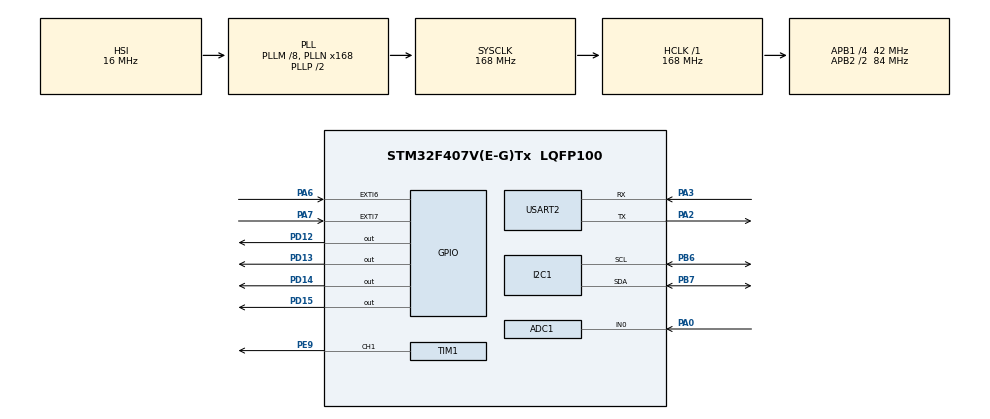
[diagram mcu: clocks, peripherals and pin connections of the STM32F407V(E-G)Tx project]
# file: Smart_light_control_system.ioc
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ADC1.Channel-0\#ChannelRegularConversion=ADC_CHANNEL_0
ADC1.NbrOfConversionFlag=1
ADC1.Rank-0\#ChannelRegularConversion=1
ADC1.SamplingTime-0\#ChannelRegularConversion=ADC_SAMPLETIME_3CYCLES
ADC1.master=1
Mcu.Family=STM32F4
Mcu.Name=STM32F407V(E-G)Tx
Mcu.Package=LQFP100
NVIC.EXTI9_5_IRQn=true\:0\:0\:false\:false\:true\:true\:true\:true
NVIC.PriorityGroup=NVIC_PRIORITYGROUP_0
PA0-WKUP.Signal=ADCx_IN0
PA2.Mode=Asynchronous
PA2.Signal=USART2_TX
PA3.Mode=Asynchronous
PA3.Signal=USART2_RX
PA6.Signal=GPXTI6
PA7.Signal=GPXTI7
PB6.Mode=I2C
PB6.Signal=I2C1_SCL
PB7.Mode=I2C
PB7.Signal=I2C1_SDA
PD12.Signal=GPIO_Output
PD13.Signal=GPIO_Output
PD14.Signal=GPIO_Output
PD15.Signal=GPIO_Output
PE9.Signal=S_TIM1_CH1
PH0-OSC_IN.Mode=HSE-External-Oscillator
PH0-OSC_IN.Signal=RCC_OSC_IN
PH1-OSC_OUT.Mode=HSE-External-Oscillator
PH1-OSC_OUT.Signal=RCC_OSC_OUT
ProjectManager.HeapSize=0x200
ProjectManager.StackSize=0x400
ProjectManager.TargetToolchain=STM32CubeIDE
RCC.48MHZClocksFreq_Value=48000000
RCC.AHBFreq_Value=168000000
RCC.APB1CLKDivider=RCC_HCLK_DIV4
RCC.APB1Freq_Value=42000000
RCC.APB1TimFreq_Value=84000000
RCC.APB2CLKDivider=RCC_HCLK_DIV2
RCC.APB2Freq_Value=84000000
RCC.APB2TimFreq_Value=168000000
RCC.CortexFreq_Value=168000000
RCC.HCLKFreq_Value=168000000
RCC.HSE_VALUE=8000000
RCC.HSI_VALUE=16000000
RCC.LSE_VALUE=32768
RCC.PLLM=8
RCC.PLLN=168
RCC.PLLQ=7
RCC.SYSCLKFreq_VALUE=168000000
RCC.SYSCLKSource=RCC_SYSCLKSOURCE_PLLCLK
RCC.VCOOutputFreq_Value=336000000
SH.ADCx_IN0.0=ADC1_IN0,IN0
SH.S_TIM1_CH1.0=TIM1_CH1,PWM Generation1 CH1
TIM1.Channel-PWM\ Generation1\ CH1=TIM_CHANNEL_1
TIM1.Period=999
TIM1.Prescaler=83
USART2.VirtualMode=VM_ASYNC
board=STM32F407G-DISC1

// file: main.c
/* USER CODE BEGIN Header */
/**
  ******************************************************************************
  * @file           : main.c
  * @brief          : Main program body
  ******************************************************************************
  * @attention
  *
  * Copyright (c) 2025 STMicroelectronics.
  * All rights reserved.
  *
  * This software is licensed under terms that can be found in the LICENSE file
  * in the root directory of this software component.
  * If no LICENSE file comes with this software, it is provided AS-IS.
  *
  ******************************************************************************
  */
/* USER CODE END Header */
/* Includes --------------------------------------------------------------=----*/
#include "main.h"

/* USER CODE BEGIN Includes */
#include<stdio.h>
#include<string.h>
#include<stdlib.h>
#include"lcd16x2_i2c.h"

/* USER CODE END Includes */

/* USER CODE BEGIN PD */

#define ADC_MAX_SIZE  4095   // 12 bit adc 2 ki power 12

/* USER CODE END PD */

ADC_HandleTypeDef hadc1;

I2C_HandleTypeDef hi2c1;

TIM_HandleTypeDef htim1;

UART_HandleTypeDef huart2;

/* USER CODE BEGIN PV */

char str[250] = "Welcome smart home project\r\n";
uint32_t adcVal = 0;
uint8_t dutyCycle = 0;
uint8_t Brightness_Percantage = 0;

volatile uint8_t switchToManualMode = 0;          // it is flag and converted like toggle
volatile uint8_t isledOnOrOff = 0;           // it is flag and converted like toggle

/* USER CODE END PV */

void SystemClock_Config(void);
static void MX_GPIO_Init(void);
static void MX_I2C1_Init(void);
static void MX_ADC1_Init(void);
static void MX_USART2_UART_Init(void);
static void MX_TIM1_Init(void);

/* USER CODE BEGIN 0 */

__weak void HAL_GPIO_EXTI_Callback(uint16_t GPIO_Pin)
{
	/* Prevent unused argument(s) compilation warning */
	UNUSED(GPIO_Pin);
	/* NOTE: This function Should not be modified, when the callback is needed,
           the HAL_GPIO_EXTI_Callback could be implemented in the user file
	 */

	if(GPIO_Pin == GPIO_PIN_6) // if btn1(PA6) is pressed, swich to manual led control by changing TIM1 mode from PWM to normal mode because it is manuaaly
	{
		if(switchToManualMode == 0)
		{
			// 1. stop PWM Timer that is generating PWM signals on PE9 (TIM1_CH1)
			HAL_TIM_PWM_Stop(&htim1, TIM_CHANNEL_1);

			// 2. configure PE9 mode as GPIO output for manual control
			GPIO_InitTypeDef GPIO_InitStruct = {0};            // 0 means is gpio all configuration are reset and again inilize it acoording to you
			/*Configure GPIO pins : PE9 as GPIO Output */
			GPIO_InitStruct.Pin = GPIO_PIN_9;
			GPIO_InitStruct.Mode = GPIO_MODE_OUTPUT_PP;
			GPIO_InitStruct.Pull = GPIO_NOPULL;
			GPIO_InitStruct.Speed = GPIO_SPEED_FREQ_LOW;
			HAL_GPIO_Init(GPIOE, &GPIO_InitStruct);

			sprintf(str,"switched to manual mode! \r\n");
			HAL_UART_Transmit(&huart2, (const uint8_t*)str, strlen(str),HAL_MAX_DELAY);
		}
		else
		{
			// 1. Reconfigure TIM1 to generate PWM signals on PE9(TIM1_CH1)
			//MX_TIM1_Init();

			// 1. reconfigure PE9 mode as GPIO AF1 (TIM1_CH1)
			GPIO_InitTypeDef GPIO_InitStruct = {0};
			/*Configure GPIO pins : PE9 MODE as GPIO AF */
			GPIO_InitStruct.Pin = GPIO_PIN_9;
			GPIO_InitStruct.Mode = GPIO_MODE_AF_PP;
			GPIO_InitStruct.Pull = GPIO_NOPULL;
			GPIO_InitStruct.Speed = GPIO_SPEED_FREQ_HIGH;
			GPIO_InitStruct.Alternate = GPIO_AF1_TIM1;
			HAL_GPIO_Init(GPIOE, &GPIO_InitStruct);

			// 2. Start PWM
			HAL_TIM_PWM_Start(&htim1, TIM_CHANNEL_1);

			sprintf(str,"switched to auto mode! \r\n");
			HAL_UART_Transmit(&huart2, (const uint8_t*)str, strlen(str), HAL_MAX_DELAY);
		}

		// switchToManualMode = 0(auto mode), 1(manual mode) (flag)
		//switchToManualMode = ~switchToManualMode;
		switchToManualMode ^= 0x01; // toggles bit 0 switch because in main function switchToManualMode=1 is mannual mode
	 }

    else if(GPIO_Pin == GPIO_PIN_7)	// if btn2(PA7) is pressed, toggle led by changing the mode of PE9 to output
	      {
	    	  // flag to turn on or off led
	    	  //isledOnOrOff = ~isledOnOrOff;
	    	  isledOnOrOff ^= 0x01;      // ledonoroff =1 when led is on

	      }
    else{
   	  // No action
     }

}

/* USER CODE END 0 */

int main(void)
{

  /* MCU Configuration--------------------------------------------------------*/

  /* Reset of all peripherals, Initializes the Flash interface and the Systick. */
  HAL_Init();

  /* Configure the system clock */
  SystemClock_Config();

  /* Initialize all configured peripherals */
  MX_GPIO_Init();
  MX_I2C1_Init();
  MX_ADC1_Init();
  MX_USART2_UART_Init();
  MX_TIM1_Init();
  /* USER CODE BEGIN 2 */

    lcd16x2_i2c_init(&hi2c1);

  	HAL_UART_Transmit(&huart2,(const uint8_t*)str, strlen(str),HAL_MAX_DELAY);

  	HAL_TIM_PWM_Start(&htim1,TIM_CHANNEL_1);

  /* USER CODE END 2 */

  /* Infinite loop */
  while (1)
  {

    /* USER CODE BEGIN 3 */

	if(switchToManualMode == 1)
	{
		sprintf(str,"running in manual mode... \r\n");
		HAL_UART_Transmit(&huart2, (const uint8_t*)str, strlen(str), HAL_MAX_DELAY);
		sprintf(str,"manual mode on ... \r\n");
		lcd16x2_i2c_setCursor(0,0);
		lcd16x2_i2c_printf(str);

		// manual mode
		if(isledOnOrOff == 1)
		{ // turn ON led
			sprintf(str,"turning led on... \r\n");
			HAL_UART_Transmit(&huart2, (const uint8_t*)str, strlen(str),  HAL_MAX_DELAY);
			sprintf(str,"turning led on... \r\n");
			lcd16x2_i2c_setCursor(1,0);
		    lcd16x2_i2c_printf(str);
			HAL_GPIO_WritePin(GPIOE, GPIO_PIN_9, GPIO_PIN_SET);
			}
		else
		{ // turn OFF led
			sprintf(str,"turning led off... \r\n");
			HAL_UART_Transmit(&huart2, (const uint8_t*)str, strlen(str),  HAL_MAX_DELAY);
			sprintf(str,"turning led off... \r\n");
			lcd16x2_i2c_setCursor(1,0);
			lcd16x2_i2c_printf(str);
			HAL_GPIO_WritePin(GPIOE, GPIO_PIN_9, GPIO_PIN_RESET);
			}

		}
	else
	{   // automatic mode (default)

		sprintf(str,"running in auto mode... \r\n");
		HAL_UART_Transmit(&huart2, (const uint8_t*)str, strlen(str), 100);
		sprintf(str,"auto mode on ... \r\n");
		lcd16x2_i2c_setCursor(0,0);
		lcd16x2_i2c_printf(str);

		HAL_ADC_Start(&hadc1);

		if(HAL_ADC_PollForConversion(&hadc1, HAL_MAX_DELAY) == HAL_OK)
		{
			adcVal = HAL_ADC_GetValue(&hadc1);

			// calcualte percentage of ambient light brightness using ldr Value
			Brightness_Percantage  = (adcVal*100)/ADC_MAX_SIZE;

		    sprintf(str,"ADC value= %ld\r\n",adcVal);
			HAL_UART_Transmit(&huart2, (const uint8_t*)str, strlen(str), HAL_MAX_DELAY);

			lcd16x2_i2c_setCursor(0, 0);
			lcd16x2_i2c_printf(str);

			// adjust duty cycle as per Percentage of Ambient Light Brightness
			dutyCycle = 100 - Brightness_Percantage;
			htim1.Instance->CCR1 = dutyCycle;     // here link the ccr register to duty cycle

		   if(adcVal <= 500)
		    {  // if there is no enough ambient light, led should glow with full intensity

				dutyCycle = 100;
				htim1.Instance->CCR1 = dutyCycle;
				}
			else if(adcVal > 1000 && adcVal <= 2000)
			{
				dutyCycle = 75;
				htim1.Instance->CCR1 = dutyCycle;
				}
			else if(adcVal > 2000 && adcVal <= 4000)
			{
		    	dutyCycle = 50;
				htim1.Instance->CCR1 = dutyCycle;
				}
		    else{  // if there is plenty of ambient light, led should not glow.

		    	dutyCycle = 0;
				 htim1.Instance->CCR1 = dutyCycle;
				}

		     sprintf(str,"Led per=%d\r\n",dutyCycle);
		     HAL_UART_Transmit(&huart2, (const uint8_t*)str, strlen(str), HAL_MAX_DELAY);
		     sprintf(str,"Brightness=%d\r\n",Brightness_Percantage);

			 HAL_UART_Transmit(&huart2, (const uint8_t*)str, strlen(str),HAL_MAX_DELAY);

			 lcd16x2_i2c_setCursor(1, 0);
			 lcd16x2_i2c_printf(str);

			}
		}
		HAL_Delay(1000);
	  }

  /* USER CODE END 3 */
}

void SystemClock_Config(void)
{
  RCC_OscInitTypeDef RCC_OscInitStruct = {0};
  RCC_ClkInitTypeDef RCC_ClkInitStruct = {0};

  /** Configure the main internal regulator output voltage
  */
  __HAL_RCC_PWR_CLK_ENABLE();
  __HAL_PWR_VOLTAGESCALING_CONFIG(PWR_REGULATOR_VOLTAGE_SCALE1);

  /** Initializes the RCC Oscillators according to the specified parameters
  * in the RCC_OscInitTypeDef structure.
  */
  RCC_OscInitStruct.OscillatorType = RCC_OSCILLATORTYPE_HSI;
  RCC_OscInitStruct.HSIState = RCC_HSI_ON;
  RCC_OscInitStruct.HSICalibrationValue = RCC_HSICALIBRATION_DEFAULT;
  RCC_OscInitStruct.PLL.PLLState = RCC_PLL_ON;
  RCC_OscInitStruct.PLL.PLLSource = RCC_PLLSOURCE_HSI;
  RCC_OscInitStruct.PLL.PLLM = 8;
  RCC_OscInitStruct.PLL.PLLN = 168;
  RCC_OscInitStruct.PLL.PLLP = RCC_PLLP_DIV2;
  RCC_OscInitStruct.PLL.PLLQ = 7;
  if (HAL_RCC_OscConfig(&RCC_OscInitStruct) != HAL_OK)
  {
    Error_Handler();
  }

  /** Initializes the CPU, AHB and APB buses clocks
  */
  RCC_ClkInitStruct.ClockType = RCC_CLOCKTYPE_HCLK|RCC_CLOCKTYPE_SYSCLK
                              |RCC_CLOCKTYPE_PCLK1|RCC_CLOCKTYPE_PCLK2;
  RCC_ClkInitStruct.SYSCLKSource = RCC_SYSCLKSOURCE_PLLCLK;
  RCC_ClkInitStruct.AHBCLKDivider = RCC_SYSCLK_DIV1;
  RCC_ClkInitStruct.APB1CLKDivider = RCC_HCLK_DIV4;
  RCC_ClkInitStruct.APB2CLKDivider = RCC_HCLK_DIV2;

  if (HAL_RCC_ClockConfig(&RCC_ClkInitStruct, FLASH_LATENCY_5) != HAL_OK)
  {
    Error_Handler();
  }
}

static void MX_ADC1_Init(void)
{

  ADC_ChannelConfTypeDef sConfig = {0};

  /** Configure the global features of the ADC (Clock, Resolution, Data Alignment and number of conversion)
  */
  hadc1.Instance = ADC1;
  hadc1.Init.ClockPrescaler = ADC_CLOCK_SYNC_PCLK_DIV4;
  hadc1.Init.Resolution = ADC_RESOLUTION_12B;
  hadc1.Init.ScanConvMode = DISABLE;
  hadc1.Init.ContinuousConvMode = DISABLE;
  hadc1.Init.DiscontinuousConvMode = DISABLE;
  hadc1.Init.ExternalTrigConvEdge = ADC_EXTERNALTRIGCONVEDGE_NONE;
  hadc1.Init.ExternalTrigConv = ADC_SOFTWARE_START;
  hadc1.Init.DataAlign = ADC_DATAALIGN_RIGHT;
  hadc1.Init.NbrOfConversion = 1;
  hadc1.Init.DMAContinuousRequests = DISABLE;
  hadc1.Init.EOCSelection = ADC_EOC_SINGLE_CONV;
  if (HAL_ADC_Init(&hadc1) != HAL_OK)
  {
    Error_Handler();
  }

  /** Configure for the selected ADC regular channel its corresponding rank in the sequencer and its sample time.
  */
  sConfig.Channel = ADC_CHANNEL_0;
  sConfig.Rank = 1;
  sConfig.SamplingTime = ADC_SAMPLETIME_3CYCLES;
  if (HAL_ADC_ConfigChannel(&hadc1, &sConfig) != HAL_OK)
  {
    Error_Handler();
  }

}

static void MX_I2C1_Init(void)
{

  hi2c1.Instance = I2C1;
  hi2c1.Init.ClockSpeed = 100000;
  hi2c1.Init.DutyCycle = I2C_DUTYCYCLE_2;
  hi2c1.Init.OwnAddress1 = 0;
  hi2c1.Init.AddressingMode = I2C_ADDRESSINGMODE_7BIT;
  hi2c1.Init.DualAddressMode = I2C_DUALADDRESS_DISABLE;
  hi2c1.Init.OwnAddress2 = 0;
  hi2c1.Init.GeneralCallMode = I2C_GENERALCALL_DISABLE;
  hi2c1.Init.NoStretchMode = I2C_NOSTRETCH_DISABLE;
  if (HAL_I2C_Init(&hi2c1) != HAL_OK)
  {
    Error_Handler();
  }

}

static void MX_TIM1_Init(void)
{

  TIM_MasterConfigTypeDef sMasterConfig = {0};
  TIM_OC_InitTypeDef sConfigOC = {0};
  TIM_BreakDeadTimeConfigTypeDef sBreakDeadTimeConfig = {0};

  htim1.Instance = TIM1;
  htim1.Init.Prescaler = 83;
  htim1.Init.CounterMode = TIM_COUNTERMODE_UP;
  htim1.Init.Period = 999;
  htim1.Init.ClockDivision = TIM_CLOCKDIVISION_DIV1;
  htim1.Init.RepetitionCounter = 0;
  htim1.Init.AutoReloadPreload = TIM_AUTORELOAD_PRELOAD_DISABLE;
  if (HAL_TIM_PWM_Init(&htim1) != HAL_OK)
  {
    Error_Handler();
  }
  sMasterConfig.MasterOutputTrigger = TIM_TRGO_RESET;
  sMasterConfig.MasterSlaveMode = TIM_MASTERSLAVEMODE_DISABLE;
  if (HAL_TIMEx_MasterConfigSynchronization(&htim1, &sMasterConfig) != HAL_OK)
  {
    Error_Handler();
  }
  sConfigOC.OCMode = TIM_OCMODE_PWM1;
  sConfigOC.Pulse = 0;
  sConfigOC.OCPolarity = TIM_OCPOLARITY_HIGH;
  sConfigOC.OCNPolarity = TIM_OCNPOLARITY_HIGH;
  sConfigOC.OCFastMode = TIM_OCFAST_DISABLE;
  sConfigOC.OCIdleState = TIM_OCIDLESTATE_RESET;
  sConfigOC.OCNIdleState = TIM_OCNIDLESTATE_RESET;
  if (HAL_TIM_PWM_ConfigChannel(&htim1, &sConfigOC, TIM_CHANNEL_1) != HAL_OK)
  {
    Error_Handler();
  }
  sBreakDeadTimeConfig.OffStateRunMode = TIM_OSSR_DISABLE;
  sBreakDeadTimeConfig.OffStateIDLEMode = TIM_OSSI_DISABLE;
  sBreakDeadTimeConfig.LockLevel = TIM_LOCKLEVEL_OFF;
  sBreakDeadTimeConfig.DeadTime = 0;
  sBreakDeadTimeConfig.BreakState = TIM_BREAK_DISABLE;
  sBreakDeadTimeConfig.BreakPolarity = TIM_BREAKPOLARITY_HIGH;
  sBreakDeadTimeConfig.AutomaticOutput = TIM_AUTOMATICOUTPUT_DISABLE;
  if (HAL_TIMEx_ConfigBreakDeadTime(&htim1, &sBreakDeadTimeConfig) != HAL_OK)
  {
    Error_Handler();
  }
  HAL_TIM_MspPostInit(&htim1);

}

static void MX_USART2_UART_Init(void)
{

  huart2.Instance = USART2;
  huart2.Init.BaudRate = 115200;
  huart2.Init.WordLength = UART_WORDLENGTH_8B;
  huart2.Init.StopBits = UART_STOPBITS_1;
  huart2.Init.Parity = UART_PARITY_NONE;
  huart2.Init.Mode = UART_MODE_TX_RX;
  huart2.Init.HwFlowCtl = UART_HWCONTROL_NONE;
  huart2.Init.OverSampling = UART_OVERSAMPLING_16;
  if (HAL_UART_Init(&huart2) != HAL_OK)
  {
    Error_Handler();
  }

}

static void MX_GPIO_Init(void)
{
  GPIO_InitTypeDef GPIO_InitStruct = {0};

  /* GPIO Ports Clock Enable */
  __HAL_RCC_GPIOH_CLK_ENABLE();
  __HAL_RCC_GPIOA_CLK_ENABLE();
  __HAL_RCC_GPIOE_CLK_ENABLE();
  __HAL_RCC_GPIOD_CLK_ENABLE();
  __HAL_RCC_GPIOB_CLK_ENABLE();

  /*Configure GPIO pin Output Level */
  HAL_GPIO_WritePin(GPIOD, GPIO_PIN_12|GPIO_PIN_13|GPIO_PIN_14|GPIO_PIN_15, GPIO_PIN_RESET);

  /*Configure GPIO pins : PA6 PA7 */
  GPIO_InitStruct.Pin = GPIO_PIN_6|GPIO_PIN_7;
  GPIO_InitStruct.Mode = GPIO_MODE_IT_RISING;
  GPIO_InitStruct.Pull = GPIO_NOPULL;
  HAL_GPIO_Init(GPIOA, &GPIO_InitStruct);

  /*Configure GPIO pins : PD12 PD13 PD14 PD15 */
  GPIO_InitStruct.Pin = GPIO_PIN_12|GPIO_PIN_13|GPIO_PIN_14|GPIO_PIN_15;
  GPIO_InitStruct.Mode = GPIO_MODE_OUTPUT_PP;
  GPIO_InitStruct.Pull = GPIO_NOPULL;
  GPIO_InitStruct.Speed = GPIO_SPEED_FREQ_LOW;
  HAL_GPIO_Init(GPIOD, &GPIO_InitStruct);

  /* EXTI interrupt init*/
  HAL_NVIC_SetPriority(EXTI9_5_IRQn, 0, 0);
  HAL_NVIC_EnableIRQ(EXTI9_5_IRQn);

}

void Error_Handler(void)
{
  __disable_irq();
  while (1)
  {
  }
}
